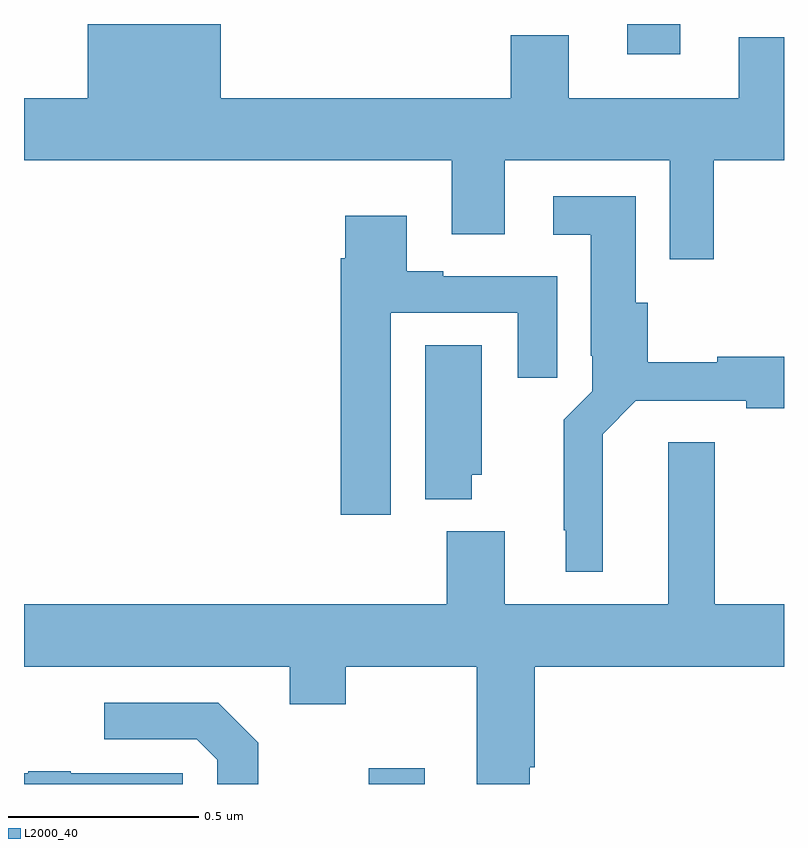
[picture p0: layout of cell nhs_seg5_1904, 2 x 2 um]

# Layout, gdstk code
import gdstk
lib = gdstk.Library(unit=1e-6, precision=1e-09)
def R(c, l, rs):  # rectangles x0, y0, x1, y1
    for r in rs: c.add(gdstk.rectangle(r[:2], r[2:], *l))
def P(c, l, *ps):  # polygons
    for p in ps: c.add(gdstk.Polygon(p, *l))
L2000_40 = (2000, 40)

nhs_seg5_1904 = lib.new_cell('nhs_seg5_1904')
R(nhs_seg5_1904, L2000_40, [(137.907,841.799,138.055,841.84), (138.587,843.72,138.727,843.799)])
P(nhs_seg5_1904, L2000_40, [(138.815,843.44),(139,843.44),(139,843.764),(138.881,843.764),(138.881,843.604),(138.433,843.604),(138.433,843.769),(138.281,843.769),(138.281,843.604),(137.518,843.604),(137.518,843.799),(137.168,843.799),(137.168,843.604),(137,843.604),(137,843.44),(138.125,843.44),(138.125,843.246),(138.265,843.246),(138.265,843.44),(138.699,843.44),(138.699,843.18),(138.815,843.18)],
  [(138.523,842.72),(138.61,842.808),(138.901,842.808),(138.901,842.788),(139,842.788),(139,842.924),(138.824,842.924),(138.824,842.909),(138.641,842.909),(138.641,843.066),(138.61,843.066),(138.61,843.346),(138.393,843.346),(138.393,843.245),(138.491,843.245),(138.491,842.926),(138.495,842.926),(138.495,842.832),(138.421,842.758),(138.421,842.467),(138.425,842.467),(138.425,842.357),(138.523,842.357)],
  [(137.965,843.039),(138.299,843.039),(138.299,842.868),(138.403,842.868),(138.403,843.135),(138.103,843.135),(138.103,843.148),(138.007,843.148),(138.007,843.295),(137.846,843.295),(137.846,843.182),(137.834,843.182),(137.834,842.508),(137.965,842.508)],
  [(138.178,842.613),(138.205,842.613),(138.205,842.954),(138.056,842.954),(138.056,842.549),(138.178,842.549)],
  [(138.331,841.843),(138.344,841.843),(138.344,842.108),(139,842.108),(139,842.272),(138.818,842.272),(138.818,842.698),(138.695,842.698),(138.695,842.272),(138.265,842.272),(138.265,842.464),(138.113,842.464),(138.113,842.272),(137,842.272),(137,842.108),(137.699,842.108),(137.699,842.009),(137.847,842.009),(137.847,842.108),(138.191,842.108),(138.191,841.799),(138.331,841.799)],
  [(137.617,841.907),(137.511,842.013),(137.211,842.013),(137.211,841.917),(137.454,841.917),(137.508,841.863),(137.508,841.799),(137.617,841.799)],
  [(137.418,841.827),(137.123,841.827),(137.123,841.832),(137.011,841.832),(137.011,841.827),(137,841.827),(137,841.799),(137.418,841.799)])

lib.write_gds('nhs_seg5_1904.gds')
